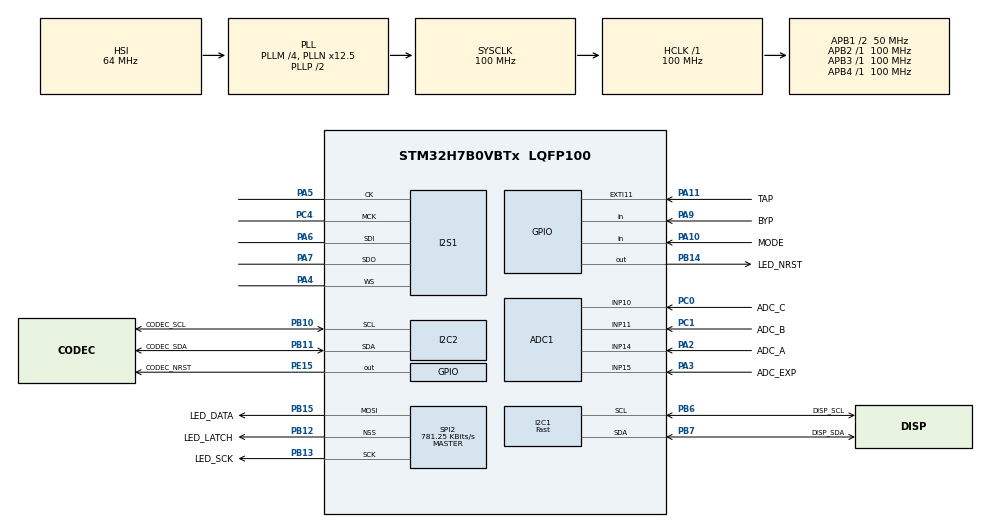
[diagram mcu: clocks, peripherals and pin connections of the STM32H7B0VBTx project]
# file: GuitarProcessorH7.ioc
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ADC1.Channel-0\#ChannelRegularConversion=ADC_CHANNEL_14
ADC1.Channel-4\#ChannelRegularConversion=ADC_CHANNEL_10
ADC1.Channel-5\#ChannelRegularConversion=ADC_CHANNEL_11
ADC1.Channel-6\#ChannelRegularConversion=ADC_CHANNEL_15
ADC1.ClockPrescaler=ADC_CLOCK_ASYNC_DIV6
ADC1.ContinuousConvMode=ENABLE
ADC1.ConversionDataManagement=ADC_CONVERSIONDATA_DMA_ONESHOT
ADC1.EOCSelection=ADC_EOC_SEQ_CONV
ADC1.NbrOfConversion=4
ADC1.NbrOfConversionFlag=1
ADC1.OffsetNumber-0\#ChannelRegularConversion=ADC_OFFSET_NONE
ADC1.OffsetNumber-4\#ChannelRegularConversion=ADC_OFFSET_NONE
ADC1.OffsetNumber-5\#ChannelRegularConversion=ADC_OFFSET_NONE
ADC1.OffsetNumber-6\#ChannelRegularConversion=ADC_OFFSET_NONE
ADC1.OffsetSignedSaturation-0\#ChannelRegularConversion=DISABLE
ADC1.OffsetSignedSaturation-4\#ChannelRegularConversion=DISABLE
ADC1.OffsetSignedSaturation-5\#ChannelRegularConversion=DISABLE
ADC1.OffsetSignedSaturation-6\#ChannelRegularConversion=DISABLE
ADC1.Overrun=ADC_OVR_DATA_OVERWRITTEN
ADC1.Rank-0\#ChannelRegularConversion=1
ADC1.Rank-4\#ChannelRegularConversion=2
ADC1.Rank-5\#ChannelRegularConversion=3
ADC1.Rank-6\#ChannelRegularConversion=4
ADC1.SamplingTime-0\#ChannelRegularConversion=ADC_SAMPLETIME_8CYCLES_5
ADC1.SamplingTime-4\#ChannelRegularConversion=ADC_SAMPLETIME_8CYCLES_5
ADC1.SamplingTime-5\#ChannelRegularConversion=ADC_SAMPLETIME_8CYCLES_5
ADC1.SamplingTime-6\#ChannelRegularConversion=ADC_SAMPLETIME_8CYCLES_5
ADC1.master=1
CORTEX_M7.default_mode_Activation=1
Dma.ADC1.3.Direction=DMA_PERIPH_TO_MEMORY
Dma.ADC1.3.EventEnable=DISABLE
Dma.ADC1.3.FIFOMode=DMA_FIFOMODE_DISABLE
Dma.ADC1.3.Instance=DMA2_Stream0
Dma.ADC1.3.MemDataAlignment=DMA_MDATAALIGN_HALFWORD
Dma.ADC1.3.MemInc=DMA_MINC_ENABLE
Dma.ADC1.3.Mode=DMA_CIRCULAR
Dma.ADC1.3.PeriphDataAlignment=DMA_PDATAALIGN_HALFWORD
Dma.ADC1.3.PeriphInc=DMA_PINC_DISABLE
Dma.ADC1.3.Polarity=HAL_DMAMUX_REQ_GEN_RISING
Dma.ADC1.3.Priority=DMA_PRIORITY_LOW
Dma.ADC1.3.RequestNumber=1
Dma.ADC1.3.SignalID=NONE
Dma.ADC1.3.SyncEnable=DISABLE
Dma.ADC1.3.SyncPolarity=HAL_DMAMUX_SYNC_NO_EVENT
Dma.ADC1.3.SyncRequestNumber=1
Dma.ADC1.3.SyncSignalID=NONE
Dma.Request0=SPI1_RX
Dma.Request1=SPI1_TX
Dma.Request2=SPI2_TX
Dma.Request3=ADC1
Dma.SPI1_RX.0.Direction=DMA_PERIPH_TO_MEMORY
Dma.SPI1_RX.0.EventEnable=DISABLE
Dma.SPI1_RX.0.FIFOMode=DMA_FIFOMODE_DISABLE
Dma.SPI1_RX.0.Instance=DMA1_Stream0
Dma.SPI1_RX.0.MemDataAlignment=DMA_MDATAALIGN_WORD
Dma.SPI1_RX.0.MemInc=DMA_MINC_ENABLE
Dma.SPI1_RX.0.Mode=DMA_CIRCULAR
Dma.SPI1_RX.0.PeriphDataAlignment=DMA_PDATAALIGN_WORD
Dma.SPI1_RX.0.PeriphInc=DMA_PINC_DISABLE
Dma.SPI1_RX.0.Polarity=HAL_DMAMUX_REQ_GEN_RISING
Dma.SPI1_RX.0.Priority=DMA_PRIORITY_VERY_HIGH
Dma.SPI1_RX.0.RequestNumber=1
Dma.SPI1_RX.0.SignalID=NONE
Dma.SPI1_RX.0.SyncEnable=DISABLE
Dma.SPI1_RX.0.SyncPolarity=HAL_DMAMUX_SYNC_NO_EVENT
Dma.SPI1_RX.0.SyncRequestNumber=1
Dma.SPI1_RX.0.SyncSignalID=NONE
Dma.SPI1_TX.1.Direction=DMA_MEMORY_TO_PERIPH
Dma.SPI1_TX.1.EventEnable=DISABLE
Dma.SPI1_TX.1.FIFOMode=DMA_FIFOMODE_DISABLE
Dma.SPI1_TX.1.Instance=DMA1_Stream1
Dma.SPI1_TX.1.MemDataAlignment=DMA_MDATAALIGN_WORD
Dma.SPI1_TX.1.MemInc=DMA_MINC_ENABLE
Dma.SPI1_TX.1.Mode=DMA_CIRCULAR
Dma.SPI1_TX.1.PeriphDataAlignment=DMA_PDATAALIGN_WORD
Dma.SPI1_TX.1.PeriphInc=DMA_PINC_DISABLE
Dma.SPI1_TX.1.Polarity=HAL_DMAMUX_REQ_GEN_RISING
Dma.SPI1_TX.1.Priority=DMA_PRIORITY_VERY_HIGH
Dma.SPI1_TX.1.RequestNumber=1
Dma.SPI1_TX.1.SignalID=NONE
Dma.SPI1_TX.1.SyncEnable=DISABLE
Dma.SPI1_TX.1.SyncPolarity=HAL_DMAMUX_SYNC_NO_EVENT
Dma.SPI1_TX.1.SyncRequestNumber=1
Dma.SPI1_TX.1.SyncSignalID=NONE
Dma.SPI2_TX.2.Direction=DMA_MEMORY_TO_PERIPH
Dma.SPI2_TX.2.EventEnable=DISABLE
Dma.SPI2_TX.2.FIFOMode=DMA_FIFOMODE_DISABLE
Dma.SPI2_TX.2.Instance=DMA1_Stream3
Dma.SPI2_TX.2.MemDataAlignment=DMA_MDATAALIGN_BYTE
Dma.SPI2_TX.2.MemInc=DMA_MINC_ENABLE
Dma.SPI2_TX.2.Mode=DMA_NORMAL
Dma.SPI2_TX.2.PeriphDataAlignment=DMA_PDATAALIGN_BYTE
Dma.SPI2_TX.2.PeriphInc=DMA_PINC_DISABLE
Dma.SPI2_TX.2.Polarity=HAL_DMAMUX_REQ_GEN_RISING
Dma.SPI2_TX.2.Priority=DMA_PRIORITY_LOW
Dma.SPI2_TX.2.RequestNumber=1
Dma.SPI2_TX.2.SignalID=NONE
Dma.SPI2_TX.2.SyncEnable=DISABLE
Dma.SPI2_TX.2.SyncPolarity=HAL_DMAMUX_SYNC_NO_EVENT
Dma.SPI2_TX.2.SyncRequestNumber=1
Dma.SPI2_TX.2.SyncSignalID=NONE
I2C1.CustomTiming=Disabled
I2C1.I2C_Speed_Mode=I2C_Fast
I2C1.Speed=180
I2C1.Timing=0x004020EB
I2C2.CustomTiming=Disabled
I2C2.I2C_Fall_Time=0
I2C2.I2C_Rise_Time=0
I2C2.OwnAddress=24
I2C2.Speed=100
I2C2.Timing=0x00C0EAFF
I2S1.AudioFreq=I2S_AUDIOFREQ_48K
I2S1.CPOL=I2S_CPOL_LOW
I2S1.Data24BitAlignment=I2S_DATA_24BIT_ALIGNMENT_LEFT
I2S1.DataFormat=I2S_DATAFORMAT_32B
I2S1.ErrorAudioFreq=1.72 %
I2S1.Instance=SPI$Index
I2S1.RealAudioFreq=48.828 KHz
Mcu.Family=STM32H7
Mcu.Name=STM32H7B0VBTx
Mcu.Package=LQFP100
NVIC.DMA1_Stream0_IRQn=true\:0\:0\:false\:false\:true\:false\:true\:true
NVIC.DMA1_Stream1_IRQn=true\:0\:0\:false\:false\:true\:false\:true\:true
NVIC.DMA1_Stream3_IRQn=true\:0\:0\:false\:false\:true\:false\:true\:true
NVIC.DMA2_Stream0_IRQn=true\:0\:0\:false\:false\:true\:false\:true\:true
NVIC.I2C1_EV_IRQn=true\:0\:0\:false\:false\:true\:true\:true\:true
NVIC.PriorityGroup=NVIC_PRIORITYGROUP_4
NVIC.SPI2_IRQn=true\:0\:0\:false\:false\:true\:false\:true\:true
NVIC.TIM3_IRQn=true\:0\:0\:false\:false\:true\:true\:true\:true
NVIC.TIM4_IRQn=true\:0\:0\:false\:false\:true\:true\:true\:true
PA10.GPIO_Label=MODE
PA10.Signal=GPIO_Input
PA11.GPIO_Label=TAP
PA11.Signal=GPXTI11
PA13.Mode=Trace_Asynchronous_SW
PA13.Signal=DEBUG_JTMS-SWDIO
PA14.Mode=Trace_Asynchronous_SW
PA14.Signal=DEBUG_JTCK-SWCLK
PA2.GPIO_Label=ADC_A
PA2.Signal=ADCx_INP14
PA3.GPIO_Label=ADC_EXP
PA3.Mode=IN15-Single-Ended
PA3.Signal=ADC1_INP15
PA4.Mode=Full_Duplex_Master
PA4.Signal=I2S1_WS
PA5.Mode=Full_Duplex_Master
PA5.Signal=I2S1_CK
PA6.Mode=Full_Duplex_Master
PA6.Signal=I2S1_SDI
PA7.Mode=Full_Duplex_Master
PA7.Signal=I2S1_SDO
PA9.GPIO_Label=BYP
PA9.Signal=GPIO_Input
PB10.GPIO_Label=CODEC_SCL
PB10.Mode=I2C
PB10.Signal=I2C2_SCL
PB11.GPIO_Label=CODEC_SDA
PB11.Mode=I2C
PB11.Signal=I2C2_SDA
PB12.GPIO_Label=LED_LATCH
PB12.Mode=NSS_Signal_Hard_Output
PB12.Signal=SPI2_NSS
PB13.GPIO_Label=LED_SCK
PB13.Mode=TX_Only_Simplex_Unidirect_Master
PB13.Signal=SPI2_SCK
PB14.GPIO_Label=LED_NRST
PB14.Signal=GPIO_Output
PB15.GPIO_Label=LED_DATA
PB15.Mode=TX_Only_Simplex_Unidirect_Master
PB15.Signal=SPI2_MOSI
PB3.Mode=Trace_Asynchronous_SW
PB3.Signal=DEBUG_JTDO-SWO
PB6.GPIO_Label=DISP_SCL
PB6.Mode=I2C
PB6.Signal=I2C1_SCL
PB7.GPIO_Label=DISP_SDA
PB7.Mode=I2C
PB7.Signal=I2C1_SDA
PC0.GPIO_Label=ADC_C
PC0.Signal=ADCx_INP10
PC1.GPIO_Label=ADC_B
PC1.Signal=ADCx_INP11
PC14-OSC32_IN.Mode=LSE-External-Oscillator
PC14-OSC32_IN.Signal=RCC_OSC32_IN
PC15-OSC32_OUT.Mode=LSE-External-Oscillator
PC15-OSC32_OUT.Signal=RCC_OSC32_OUT
PC4.Mode=Master_Clock_Activated
PC4.Signal=I2S1_MCK
PE15.GPIO_Label=CODEC_NRST
PE15.Signal=GPIO_Output
PH0-OSC_IN.Mode=HSE-External-Oscillator
PH0-OSC_IN.Signal=RCC_OSC_IN
PH1-OSC_OUT.Mode=HSE-External-Oscillator
PH1-OSC_OUT.Signal=RCC_OSC_OUT
ProjectManager.HeapSize=0x200
ProjectManager.StackSize=0x400
ProjectManager.TargetToolchain=STM32CubeIDE
RCC.ADCFreq_Value=42666666.666666664
RCC.APB1Freq_Value=50000000
RCC.APB2Freq_Value=100000000
RCC.APB3Freq_Value=100000000
RCC.APB4Freq_Value=100000000
RCC.CDPPRE1=RCC_APB1_DIV2
RCC.CortexFreq_Value=100000000
RCC.DIVM1=4
RCC.DIVM2=4
RCC.DIVN1=12
RCC.DIVN2=8
RCC.DIVP2=3
RCC.HCLKFreq_Value=100000000
RCC.HSE_VALUE=32000000
RCC.PLL2FRACN=0
RCC.PLL3FRACN=0
RCC.PLLFRACN=4096
RCC.SYSCLKFreq_VALUE=100000000
RCC.SYSCLKSource=RCC_SYSCLKSOURCE_PLLCLK
RCC.USBFreq_Value=100000000
SH.ADCx_INP10.0=ADC1_INP10,IN10-Single-Ended
SH.ADCx_INP11.0=ADC1_INP11,IN11-Single-Ended
SH.ADCx_INP14.0=ADC1_INP14,IN14-Single-Ended
SPI2.BaudRatePrescaler=SPI_BAUDRATEPRESCALER_128
SPI2.CalculateBaudRate=781.25 KBits/s
SPI2.DataSize=SPI_DATASIZE_8BIT
SPI2.Direction=SPI_DIRECTION_2LINES_TXONLY
SPI2.Mode=SPI_MODE_MASTER
SPI2.VirtualNSS=VM_NSSHARD
SPI2.VirtualType=VM_MASTER
TIM3.Period=54999
TIM3.Prescaler=99
TIM4.Period=49999
TIM4.Prescaler=199
VP_MEMORYMAP_VS_MEMORYMAP.Mode=CurAppReg
VP_TIM3_VS_ClockSourceINT.Mode=Internal
VP_TIM4_VS_ClockSourceINT.Mode=Internal
board=custom

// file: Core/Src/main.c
/* USER CODE BEGIN Header */
/**
 ******************************************************************************
 * @file           : main.c
 * @brief          : Main program body
 ******************************************************************************
 * @attention
 *
 * Copyright (c) 2025 STMicroelectronics.
 * All rights reserved.
 *
 * This software is licensed under terms that can be found in the LICENSE file
 * in the root directory of this software component.
 * If no LICENSE file comes with this software, it is provided AS-IS.
 *
 ******************************************************************************
 */
/* USER CODE END Header */
#include "main.h"

/* USER CODE BEGIN Includes */
#include "FxProcessor.h"
#include "tlv320aic3204.h"
#include "ssd1306.h"
/* USER CODE END Includes */

ADC_HandleTypeDef hadc1;
DMA_HandleTypeDef hdma_adc1;

I2C_HandleTypeDef hi2c1;
I2C_HandleTypeDef hi2c2;

I2S_HandleTypeDef hi2s1;
DMA_HandleTypeDef hdma_spi1_rx;
DMA_HandleTypeDef hdma_spi1_tx;

SPI_HandleTypeDef hspi2;
DMA_HandleTypeDef hdma_spi2_tx;

TIM_HandleTypeDef htim3;
TIM_HandleTypeDef htim4;

/* USER CODE BEGIN PV */
fx_processor_t fx;

uint16_t knobAdcData[4];

volatile uint8_t ledsReady = 1;
uint8_t ledData = 0x00;

/* USER CODE END PV */

void SystemClock_Config(void);
static void MPU_Config(void);
static void MX_GPIO_Init(void);
static void MX_DMA_Init(void);
static void MX_ADC1_Init(void);
static void MX_I2C1_Init(void);
static void MX_I2C2_Init(void);
static void MX_I2S1_Init(void);
static void MX_SPI2_Init(void);
static void MX_TIM4_Init(void);
static void MX_TIM3_Init(void);
/* USER CODE BEGIN PFP */
// call this to update the LEDs
void checkLEDs();

/* USER CODE END PFP */

/* USER CODE BEGIN 0 */

//I2S stuff-----------------
int32_t adcBuf[BUFFER_SIZE];
int32_t dacBuf[BUFFER_SIZE];
static volatile int32_t *adcPtr = &adcBuf[0];
static volatile int32_t *dacPtr = &dacBuf[0];
float inputFloatBuf[BUFFER_FLOAT_SIZE];
float outputFloatBuf[BUFFER_FLOAT_SIZE];

uint8_t bufferReady = 0;

volatile uint8_t displayUpdateNeeded = 0;
//static const uint32_t max32 = 0xFFFFFFFF;
//float u32_to_float(uint32_t val) {
//	float norm = (float)val / (float)max32;
//	return (norm * 2.0f) - 1.0f;
//}
//
//uint32_t float_to_u32(float val) {
//	float norm = (val + 1.0f) / 2.0f;
//	return (uint32_t)(norm * (float)max32);
//}

static const int32_t int32Max = 2147483648;
float i32_to_float(int32_t val) {
	return (float) val / (float) int32Max;
}
int32_t float_to_i32(float val) {
	return (int32_t) (val * (float) int32Max);
}

void convertInputBuffer() {
	for (uint16_t i = 0; i < BUFFER_FLOAT_SIZE; ++i) {
		// convert ADC to the input buf
		inputFloatBuf[i] = i32_to_float(adcPtr[(2 * i) + 1]);

	}
}
void convertOutputBuffer() {
	for (uint16_t i = 0; i < BUFFER_FLOAT_SIZE; ++i) {
		// convert output buf to DAC
		dacPtr[(2 * i) + 1] = float_to_i32(outputFloatBuf[i]);
		// for differential out on the left channel
		dacPtr[2 * i] = dacPtr[(2 * i) + 1] * -1;
	}
}

void HAL_I2SEx_TxRxCpltCallback(I2S_HandleTypeDef *i2s) {
	adcPtr = &adcBuf[BUFFER_SIZE / 2];
	dacPtr = &dacBuf[BUFFER_SIZE / 2];
	bufferReady = 1;
}

void HAL_I2SEx_TxRxHalfCpltCallback(I2S_HandleTypeDef *i2s) {
	adcPtr = &adcBuf[0];
	dacPtr = &dacBuf[0];
	bufferReady = 1;
}

void HAL_SPI_TxCpltCallback(SPI_HandleTypeDef*) {
	ledsReady = 1;
}

// Knob ADC callback----------------------

void HAL_ADC_ErrorCallback(ADC_HandleTypeDef *adc) {
	Error_Handler();
}
void HAL_ADC_ConvCpltCallback(ADC_HandleTypeDef *adc) {
	static uint16_t prevValues[4] = { 0, 0, 0, 0 };
	/*NOTE: the channels are ordered:
	 * Knob A
	 * Knob B
	 * Knob C
	 * Exp. input
	 * */
	for (uint8_t i = 0; i < 4; i++) {
		if (knobAdcData[i] != prevValues[i]) {
			prevValues[i] = knobAdcData[i];
			fx_control_moved(fx, i, knobAdcData[i]);
		}
	}

}

//void HAL_ADC_ConvHalfCpltCallback(ADC_HandleTypeDef* adc) {
//	static uint16_t prevValues[2] = { 0, 0 };
//	/*NOTE: the channels are ordered:
//	 * Knob C
//	 * Exp. Input
//	 * */
//	for (uint8_t i = 0; i < 2; i++) {
//		if (knobAdcData[i + 2] != prevValues[i]) {
//			prevValues[i] = knobAdcData[i + 2];
//			fx_control_moved(fx, i + 2, knobAdcData[i + 2]);
//		}
//	}
//
//}

// Display I2C callback------------------------------
void HAL_I2C_MemTxCpltCallback(I2C_HandleTypeDef*) {
	ssd1306_TxFinished();
}

void HAL_I2C_ErrorCallback(I2C_HandleTypeDef* i2c){
	Error_Handler();
}
//
void checkLEDs() {
	static uint32_t lastCheck = 0;
	// this limits the LEDs to refreshing no more than ~25x a second
	const uint32_t minUpdateMs = 40;
	if (ledsReady && (HAL_GetTick() - lastCheck) >= minUpdateMs) {
		lastCheck = HAL_GetTick();
		uint8_t bits = fx_get_led_byte(fx);
		if (bits != ledData) {
			ledData = bits;
			// even with the prescaler at 128 this transmission only takes like 10.2 microseconds,
			// but we have the hardware DMAs so why not optimize
			HAL_SPI_Transmit_DMA(&hspi2, &ledData, 1);
			ledsReady = 0;
		}
	}
}

const uint32_t switchUpdateMs = 10;

uint8_t algSwitchDebounce() {
	static uint16_t switchStates = 0;
	switchStates = (switchStates << 1)
			| HAL_GPIO_ReadPin(MODE_GPIO_Port, MODE_Pin);
	return switchStates == 0x000F;
}

void checkSwitches() {
	static uint32_t lastSwitchCheck = 0;
	uint32_t now = HAL_GetTick();
	static GPIO_PinState fxActive = GPIO_PIN_SET;
	if (now - lastSwitchCheck >= switchUpdateMs) {
		lastSwitchCheck = now;
		if (algSwitchDebounce()) {
			fx_advance_alg(fx);
		}
		GPIO_PinState bypState = HAL_GPIO_ReadPin(BYP_GPIO_Port, BYP_Pin);
		if (bypState != fxActive) {
			fxActive = bypState;
			fx_set_bypass(fx, (uint8_t) bypState);
		}
	}

}

// timer stuff
void HAL_TIM_PeriodElapsedCallback(TIM_HandleTypeDef *tim) {
	if (tim == &htim4) {
		HAL_StatusTypeDef adcStatus = HAL_ADCEx_MultiModeStart_DMA(&hadc1, (uint32_t*) knobAdcData,
				sizeof(knobAdcData));
		if (adcStatus != HAL_OK && adcStatus != HAL_BUSY) {
			Error_Handler();
		}
	} else if (ssd1306_DMAReady() > 0) {
		displayUpdateNeeded = 1;
	}
}

/* USER CODE END 0 */

int main(void)
{

  /* MPU Configuration--------------------------------------------------------*/
  MPU_Config();

  /* MCU Configuration--------------------------------------------------------*/

  /* Reset of all peripherals, Initializes the Flash interface and the Systick. */
  HAL_Init();

  /* Configure the system clock */
  SystemClock_Config();

  /* Initialize all configured peripherals */
  MX_GPIO_Init();
  MX_DMA_Init();
  MX_ADC1_Init();
  MX_I2C1_Init();
  MX_I2C2_Init();
  MX_I2S1_Init();
  MX_SPI2_Init();
  MX_TIM4_Init();
  MX_TIM3_Init();
  /* USER CODE BEGIN 2 */
	// configure codec over I2C
	if (TLV_quickInit_monoGuitarPedal() != HAL_OK) {
		Error_Handler();
	}
	//Start DMA transmission
	// note: buffer size is *2 here bc our 32 bit codec will use 2 16 bit frames
	HAL_StatusTypeDef status = HAL_I2SEx_TransmitReceive_DMA(&hi2s1,
			(uint16_t*) dacPtr, (uint16_t*) adcPtr, BUFFER_SIZE);
	if (status != HAL_OK) {
		Error_Handler();
	}
	// set up processor
	fx = create_fx_processor();

	// calibrate and start DMA for the control knob ADC
	if (HAL_ADCEx_Calibration_Start(&hadc1, ADC_CALIB_OFFSET, ADC_SINGLE_ENDED)
			!= HAL_OK) {
		Error_Handler();
	}

	if (HAL_TIM_Base_Start_IT(&htim4) != HAL_OK) {
		Error_Handler();
	}

	// bring the NRST pin for the LEDs high
	HAL_GPIO_WritePin(LED_NRST_GPIO_Port, LED_NRST_Pin, GPIO_PIN_SET);

	// initialize the OLED display
	//ssd1306_Init();

	if (HAL_TIM_Base_Start_IT(&htim3) != HAL_OK) {
		Error_Handler();
	}

  /* USER CODE END 2 */

  /* Infinite loop */
  /* USER CODE BEGIN WHILE */
	while (1) {
		// check if we have the next buffer to process
		if (bufferReady) {
//			HAL_NVIC_DisableIRQ(I2C1_EV_IRQn);
//			HAL_NVIC_DisableIRQ(TIM3_IRQn);
//			HAL_NVIC_DisableIRQ(TIM4_IRQn);
//			HAL_NVIC_DisableIRQ(DMA1_Stream2_IRQn);
			convertInputBuffer();
			process_fx(fx, BUFFER_FLOAT_SIZE, inputFloatBuf, outputFloatBuf);
			convertOutputBuffer();
			bufferReady = 0;
//			HAL_NVIC_EnableIRQ(I2C1_EV_IRQn);
//			HAL_NVIC_EnableIRQ(TIM3_IRQn);
//			HAL_NVIC_EnableIRQ(TIM4_IRQn);
//			HAL_NVIC_EnableIRQ(DMA1_Stream2_IRQn);
		}
//		if (displayUpdateNeeded) {
//			displayUpdateNeeded = 0;
//			fx_update_display(fx);
//			ssd1306_UpdateScreen();
//		}
		// check the LEDs
		HAL_NVIC_DisableIRQ(I2C1_EV_IRQn);
		checkLEDs();
		checkSwitches();
		HAL_NVIC_EnableIRQ(I2C1_EV_IRQn);

    /* USER CODE END WHILE */

	}
}

void SystemClock_Config(void)
{
  RCC_OscInitTypeDef RCC_OscInitStruct = {0};
  RCC_ClkInitTypeDef RCC_ClkInitStruct = {0};

  /*AXI clock gating */
  RCC->CKGAENR = 0xE003FFFF;

  /** Supply configuration update enable
  */
  HAL_PWREx_ConfigSupply(PWR_LDO_SUPPLY);

  /** Configure the main internal regulator output voltage
  */
  __HAL_PWR_VOLTAGESCALING_CONFIG(PWR_REGULATOR_VOLTAGE_SCALE2);

  while(!__HAL_PWR_GET_FLAG(PWR_FLAG_VOSRDY)) {}

  /** Initializes the RCC Oscillators according to the specified parameters
  * in the RCC_OscInitTypeDef structure.
  */
  RCC_OscInitStruct.OscillatorType = RCC_OSCILLATORTYPE_HSI;
  RCC_OscInitStruct.HSIState = RCC_HSI_DIV1;
  RCC_OscInitStruct.HSICalibrationValue = 64;
  RCC_OscInitStruct.PLL.PLLState = RCC_PLL_ON;
  RCC_OscInitStruct.PLL.PLLSource = RCC_PLLSOURCE_HSI;
  RCC_OscInitStruct.PLL.PLLM = 4;
  RCC_OscInitStruct.PLL.PLLN = 12;
  RCC_OscInitStruct.PLL.PLLP = 2;
  RCC_OscInitStruct.PLL.PLLQ = 2;
  RCC_OscInitStruct.PLL.PLLR = 2;
  RCC_OscInitStruct.PLL.PLLRGE = RCC_PLL1VCIRANGE_3;
  RCC_OscInitStruct.PLL.PLLVCOSEL = RCC_PLL1VCOWIDE;
  RCC_OscInitStruct.PLL.PLLFRACN = 4096;
  if (HAL_RCC_OscConfig(&RCC_OscInitStruct) != HAL_OK)
  {
    Error_Handler();
  }

  /** Initializes the CPU, AHB and APB buses clocks
  */
  RCC_ClkInitStruct.ClockType = RCC_CLOCKTYPE_HCLK|RCC_CLOCKTYPE_SYSCLK
                              |RCC_CLOCKTYPE_PCLK1|RCC_CLOCKTYPE_PCLK2
                              |RCC_CLOCKTYPE_D3PCLK1|RCC_CLOCKTYPE_D1PCLK1;
  RCC_ClkInitStruct.SYSCLKSource = RCC_SYSCLKSOURCE_PLLCLK;
  RCC_ClkInitStruct.SYSCLKDivider = RCC_SYSCLK_DIV1;
  RCC_ClkInitStruct.AHBCLKDivider = RCC_HCLK_DIV1;
  RCC_ClkInitStruct.APB3CLKDivider = RCC_APB3_DIV1;
  RCC_ClkInitStruct.APB1CLKDivider = RCC_APB1_DIV2;
  RCC_ClkInitStruct.APB2CLKDivider = RCC_APB2_DIV1;
  RCC_ClkInitStruct.APB4CLKDivider = RCC_APB4_DIV1;

  if (HAL_RCC_ClockConfig(&RCC_ClkInitStruct, FLASH_LATENCY_2) != HAL_OK)
  {
    Error_Handler();
  }
}

static void MX_ADC1_Init(void)
{

  ADC_MultiModeTypeDef multimode = {0};
  ADC_ChannelConfTypeDef sConfig = {0};

  /** Common config
  */
  hadc1.Instance = ADC1;
  hadc1.Init.ClockPrescaler = ADC_CLOCK_ASYNC_DIV6;
  hadc1.Init.Resolution = ADC_RESOLUTION_16B;
  hadc1.Init.ScanConvMode = ADC_SCAN_ENABLE;
  hadc1.Init.EOCSelection = ADC_EOC_SEQ_CONV;
  hadc1.Init.LowPowerAutoWait = DISABLE;
  hadc1.Init.ContinuousConvMode = ENABLE;
  hadc1.Init.NbrOfConversion = 4;
  hadc1.Init.DiscontinuousConvMode = DISABLE;
  hadc1.Init.ExternalTrigConv = ADC_SOFTWARE_START;
  hadc1.Init.ExternalTrigConvEdge = ADC_EXTERNALTRIGCONVEDGE_NONE;
  hadc1.Init.ConversionDataManagement = ADC_CONVERSIONDATA_DMA_ONESHOT;
  hadc1.Init.Overrun = ADC_OVR_DATA_OVERWRITTEN;
  hadc1.Init.LeftBitShift = ADC_LEFTBITSHIFT_NONE;
  hadc1.Init.OversamplingMode = DISABLE;
  if (HAL_ADC_Init(&hadc1) != HAL_OK)
  {
    Error_Handler();
  }

  /** Configure the ADC multi-mode
  */
  multimode.Mode = ADC_MODE_INDEPENDENT;
  if (HAL_ADCEx_MultiModeConfigChannel(&hadc1, &multimode) != HAL_OK)
  {
    Error_Handler();
  }

  /** Configure Regular Channel
  */
  sConfig.Channel = ADC_CHANNEL_14;
  sConfig.Rank = ADC_REGULAR_RANK_1;
  sConfig.SamplingTime = ADC_SAMPLETIME_8CYCLES_5;
  sConfig.SingleDiff = ADC_SINGLE_ENDED;
  sConfig.OffsetNumber = ADC_OFFSET_NONE;
  sConfig.Offset = 0;
  sConfig.OffsetSignedSaturation = DISABLE;
  if (HAL_ADC_ConfigChannel(&hadc1, &sConfig) != HAL_OK)
  {
    Error_Handler();
  }

  /** Configure Regular Channel
  */
  sConfig.Channel = ADC_CHANNEL_10;
  sConfig.Rank = ADC_REGULAR_RANK_2;
  if (HAL_ADC_ConfigChannel(&hadc1, &sConfig) != HAL_OK)
  {
    Error_Handler();
  }

  /** Configure Regular Channel
  */
  sConfig.Channel = ADC_CHANNEL_11;
  sConfig.Rank = ADC_REGULAR_RANK_3;
  if (HAL_ADC_ConfigChannel(&hadc1, &sConfig) != HAL_OK)
  {
    Error_Handler();
  }

  /** Configure Regular Channel
  */
  sConfig.Channel = ADC_CHANNEL_15;
  sConfig.Rank = ADC_REGULAR_RANK_4;
  if (HAL_ADC_ConfigChannel(&hadc1, &sConfig) != HAL_OK)
  {
    Error_Handler();
  }

}

static void MX_I2C1_Init(void)
{

  hi2c1.Instance = I2C1;
  hi2c1.Init.Timing = 0x004020EB;
  hi2c1.Init.OwnAddress1 = 0;
  hi2c1.Init.AddressingMode = I2C_ADDRESSINGMODE_7BIT;
  hi2c1.Init.DualAddressMode = I2C_DUALADDRESS_DISABLE;
  hi2c1.Init.OwnAddress2 = 0;
  hi2c1.Init.OwnAddress2Masks = I2C_OA2_NOMASK;
  hi2c1.Init.GeneralCallMode = I2C_GENERALCALL_DISABLE;
  hi2c1.Init.NoStretchMode = I2C_NOSTRETCH_DISABLE;
  if (HAL_I2C_Init(&hi2c1) != HAL_OK)
  {
    Error_Handler();
  }

  /** Configure Analogue filter
  */
  if (HAL_I2CEx_ConfigAnalogFilter(&hi2c1, I2C_ANALOGFILTER_ENABLE) != HAL_OK)
  {
    Error_Handler();
  }

  /** Configure Digital filter
  */
  if (HAL_I2CEx_ConfigDigitalFilter(&hi2c1, 0) != HAL_OK)
  {
    Error_Handler();
  }

}

static void MX_I2C2_Init(void)
{

  hi2c2.Instance = I2C2;
  hi2c2.Init.Timing = 0x00C0EAFF;
  hi2c2.Init.OwnAddress1 = 48;
  hi2c2.Init.AddressingMode = I2C_ADDRESSINGMODE_7BIT;
  hi2c2.Init.DualAddressMode = I2C_DUALADDRESS_DISABLE;
  hi2c2.Init.OwnAddress2 = 0;
  hi2c2.Init.OwnAddress2Masks = I2C_OA2_NOMASK;
  hi2c2.Init.GeneralCallMode = I2C_GENERALCALL_DISABLE;
  hi2c2.Init.NoStretchMode = I2C_NOSTRETCH_DISABLE;
  if (HAL_I2C_Init(&hi2c2) != HAL_OK)
  {
    Error_Handler();
  }

  /** Configure Analogue filter
  */
  if (HAL_I2CEx_ConfigAnalogFilter(&hi2c2, I2C_ANALOGFILTER_ENABLE) != HAL_OK)
  {
    Error_Handler();
  }

  /** Configure Digital filter
  */
  if (HAL_I2CEx_ConfigDigitalFilter(&hi2c2, 0) != HAL_OK)
  {
    Error_Handler();
  }

}

static void MX_I2S1_Init(void)
{

  hi2s1.Instance = SPI1;
  hi2s1.Init.Mode = I2S_MODE_MASTER_FULLDUPLEX;
  hi2s1.Init.Standard = I2S_STANDARD_PHILIPS;
  hi2s1.Init.DataFormat = I2S_DATAFORMAT_32B;
  hi2s1.Init.MCLKOutput = I2S_MCLKOUTPUT_ENABLE;
  hi2s1.Init.AudioFreq = I2S_AUDIOFREQ_48K;
  hi2s1.Init.CPOL = I2S_CPOL_LOW;
  hi2s1.Init.FirstBit = I2S_FIRSTBIT_MSB;
  hi2s1.Init.WSInversion = I2S_WS_INVERSION_DISABLE;
  hi2s1.Init.Data24BitAlignment = I2S_DATA_24BIT_ALIGNMENT_LEFT;
  hi2s1.Init.MasterKeepIOState = I2S_MASTER_KEEP_IO_STATE_DISABLE;
  if (HAL_I2S_Init(&hi2s1) != HAL_OK)
  {
    Error_Handler();
  }

}

static void MX_SPI2_Init(void)
{

  /* SPI2 parameter configuration*/
  hspi2.Instance = SPI2;
  hspi2.Init.Mode = SPI_MODE_MASTER;
  hspi2.Init.Direction = SPI_DIRECTION_2LINES_TXONLY;
  hspi2.Init.DataSize = SPI_DATASIZE_8BIT;
  hspi2.Init.CLKPolarity = SPI_POLARITY_LOW;
  hspi2.Init.CLKPhase = SPI_PHASE_1EDGE;
  hspi2.Init.NSS = SPI_NSS_HARD_OUTPUT;
  hspi2.Init.BaudRatePrescaler = SPI_BAUDRATEPRESCALER_128;
  hspi2.Init.FirstBit = SPI_FIRSTBIT_MSB;
  hspi2.Init.TIMode = SPI_TIMODE_DISABLE;
  hspi2.Init.CRCCalculation = SPI_CRCCALCULATION_DISABLE;
  hspi2.Init.CRCPolynomial = 0x0;
  hspi2.Init.NSSPMode = SPI_NSS_PULSE_ENABLE;
  hspi2.Init.NSSPolarity = SPI_NSS_POLARITY_LOW;
  hspi2.Init.FifoThreshold = SPI_FIFO_THRESHOLD_01DATA;
  hspi2.Init.TxCRCInitializationPattern = SPI_CRC_INITIALIZATION_ALL_ZERO_PATTERN;
  hspi2.Init.RxCRCInitializationPattern = SPI_CRC_INITIALIZATION_ALL_ZERO_PATTERN;
  hspi2.Init.MasterSSIdleness = SPI_MASTER_SS_IDLENESS_00CYCLE;
  hspi2.Init.MasterInterDataIdleness = SPI_MASTER_INTERDATA_IDLENESS_00CYCLE;
  hspi2.Init.MasterReceiverAutoSusp = SPI_MASTER_RX_AUTOSUSP_DISABLE;
  hspi2.Init.MasterKeepIOState = SPI_MASTER_KEEP_IO_STATE_DISABLE;
  hspi2.Init.IOSwap = SPI_IO_SWAP_DISABLE;
  if (HAL_SPI_Init(&hspi2) != HAL_OK)
  {
    Error_Handler();
  }

}

static void MX_TIM3_Init(void)
{

  TIM_ClockConfigTypeDef sClockSourceConfig = {0};
  TIM_MasterConfigTypeDef sMasterConfig = {0};

  htim3.Instance = TIM3;
  htim3.Init.Prescaler = 99;
  htim3.Init.CounterMode = TIM_COUNTERMODE_UP;
  htim3.Init.Period = 54999;
  htim3.Init.ClockDivision = TIM_CLOCKDIVISION_DIV1;
  htim3.Init.AutoReloadPreload = TIM_AUTORELOAD_PRELOAD_DISABLE;
  if (HAL_TIM_Base_Init(&htim3) != HAL_OK)
  {
    Error_Handler();
  }
  sClockSourceConfig.ClockSource = TIM_CLOCKSOURCE_INTERNAL;
  if (HAL_TIM_ConfigClockSource(&htim3, &sClockSourceConfig) != HAL_OK)
  {
    Error_Handler();
  }
  sMasterConfig.MasterOutputTrigger = TIM_TRGO_RESET;
  sMasterConfig.MasterSlaveMode = TIM_MASTERSLAVEMODE_DISABLE;
  if (HAL_TIMEx_MasterConfigSynchronization(&htim3, &sMasterConfig) != HAL_OK)
  {
    Error_Handler();
  }

}

static void MX_TIM4_Init(void)
{

  TIM_ClockConfigTypeDef sClockSourceConfig = {0};
  TIM_MasterConfigTypeDef sMasterConfig = {0};

  htim4.Instance = TIM4;
  htim4.Init.Prescaler = 199;
  htim4.Init.CounterMode = TIM_COUNTERMODE_UP;
  htim4.Init.Period = 49999;
  htim4.Init.ClockDivision = TIM_CLOCKDIVISION_DIV1;
  htim4.Init.AutoReloadPreload = TIM_AUTORELOAD_PRELOAD_DISABLE;
  if (HAL_TIM_Base_Init(&htim4) != HAL_OK)
  {
    Error_Handler();
  }
  sClockSourceConfig.ClockSource = TIM_CLOCKSOURCE_INTERNAL;
  if (HAL_TIM_ConfigClockSource(&htim4, &sClockSourceConfig) != HAL_OK)
  {
    Error_Handler();
  }
  sMasterConfig.MasterOutputTrigger = TIM_TRGO_RESET;
  sMasterConfig.MasterSlaveMode = TIM_MASTERSLAVEMODE_DISABLE;
  if (HAL_TIMEx_MasterConfigSynchronization(&htim4, &sMasterConfig) != HAL_OK)
  {
    Error_Handler();
  }

}

static void MX_DMA_Init(void)
{

  /* DMA controller clock enable */
  __HAL_RCC_DMA1_CLK_ENABLE();
  __HAL_RCC_DMA2_CLK_ENABLE();

  /* DMA interrupt init */
  /* DMA1_Stream0_IRQn interrupt configuration */
  HAL_NVIC_SetPriority(DMA1_Stream0_IRQn, 0, 0);
  HAL_NVIC_EnableIRQ(DMA1_Stream0_IRQn);
  /* DMA1_Stream1_IRQn interrupt configuration */
  HAL_NVIC_SetPriority(DMA1_Stream1_IRQn, 0, 0);
  HAL_NVIC_EnableIRQ(DMA1_Stream1_IRQn);
  /* DMA1_Stream3_IRQn interrupt configuration */
  HAL_NVIC_SetPriority(DMA1_Stream3_IRQn, 0, 0);
  HAL_NVIC_EnableIRQ(DMA1_Stream3_IRQn);
  /* DMA2_Stream0_IRQn interrupt configuration */
  HAL_NVIC_SetPriority(DMA2_Stream0_IRQn, 0, 0);
  HAL_NVIC_EnableIRQ(DMA2_Stream0_IRQn);

}

static void MX_GPIO_Init(void)
{
  GPIO_InitTypeDef GPIO_InitStruct = {0};

  /* GPIO Ports Clock Enable */
  __HAL_RCC_GPIOC_CLK_ENABLE();
  __HAL_RCC_GPIOH_CLK_ENABLE();
  __HAL_RCC_GPIOA_CLK_ENABLE();
  __HAL_RCC_GPIOE_CLK_ENABLE();
  __HAL_RCC_GPIOB_CLK_ENABLE();

  /*Configure GPIO pin Output Level */
  HAL_GPIO_WritePin(CODEC_NRST_GPIO_Port, CODEC_NRST_Pin, GPIO_PIN_RESET);

  /*Configure GPIO pin Output Level */
  HAL_GPIO_WritePin(LED_NRST_GPIO_Port, LED_NRST_Pin, GPIO_PIN_RESET);

  /*Configure GPIO pin : CODEC_NRST_Pin */
  GPIO_InitStruct.Pin = CODEC_NRST_Pin;
  GPIO_InitStruct.Mode = GPIO_MODE_OUTPUT_PP;
  GPIO_InitStruct.Pull = GPIO_NOPULL;
  GPIO_InitStruct.Speed = GPIO_SPEED_FREQ_LOW;
  HAL_GPIO_Init(CODEC_NRST_GPIO_Port, &GPIO_InitStruct);

  /*Configure GPIO pin : LED_NRST_Pin */
  GPIO_InitStruct.Pin = LED_NRST_Pin;
  GPIO_InitStruct.Mode = GPIO_MODE_OUTPUT_PP;
  GPIO_InitStruct.Pull = GPIO_NOPULL;
  GPIO_InitStruct.Speed = GPIO_SPEED_FREQ_LOW;
  HAL_GPIO_Init(LED_NRST_GPIO_Port, &GPIO_InitStruct);

  /*Configure GPIO pins : BYP_Pin MODE_Pin */
  GPIO_InitStruct.Pin = BYP_Pin|MODE_Pin;
  GPIO_InitStruct.Mode = GPIO_MODE_INPUT;
  GPIO_InitStruct.Pull = GPIO_NOPULL;
  HAL_GPIO_Init(GPIOA, &GPIO_InitStruct);

  /*Configure GPIO pin : TAP_Pin */
  GPIO_InitStruct.Pin = TAP_Pin;
  GPIO_InitStruct.Mode = GPIO_MODE_IT_RISING;
  GPIO_InitStruct.Pull = GPIO_NOPULL;
  HAL_GPIO_Init(TAP_GPIO_Port, &GPIO_InitStruct);

}

 /* MPU Configuration */

void MPU_Config(void)
{
  MPU_Region_InitTypeDef MPU_InitStruct = {0};

  /* Disables the MPU */
  HAL_MPU_Disable();

  /** Initializes and configures the Region and the memory to be protected
  */
  MPU_InitStruct.Enable = MPU_REGION_ENABLE;
  MPU_InitStruct.Number = MPU_REGION_NUMBER0;
  MPU_InitStruct.BaseAddress = 0x0;
  MPU_InitStruct.Size = MPU_REGION_SIZE_4GB;
  MPU_InitStruct.SubRegionDisable = 0x87;
  MPU_InitStruct.TypeExtField = MPU_TEX_LEVEL0;
  MPU_InitStruct.AccessPermission = MPU_REGION_NO_ACCESS;
  MPU_InitStruct.DisableExec = MPU_INSTRUCTION_ACCESS_DISABLE;
  MPU_InitStruct.IsShareable = MPU_ACCESS_SHAREABLE;
  MPU_InitStruct.IsCacheable = MPU_ACCESS_NOT_CACHEABLE;
  MPU_InitStruct.IsBufferable = MPU_ACCESS_NOT_BUFFERABLE;

  HAL_MPU_ConfigRegion(&MPU_InitStruct);
  /* Enables the MPU */
  HAL_MPU_Enable(MPU_PRIVILEGED_DEFAULT);

}

void Error_Handler(void)
{
	__disable_irq();
	while (1) {
	}
}
